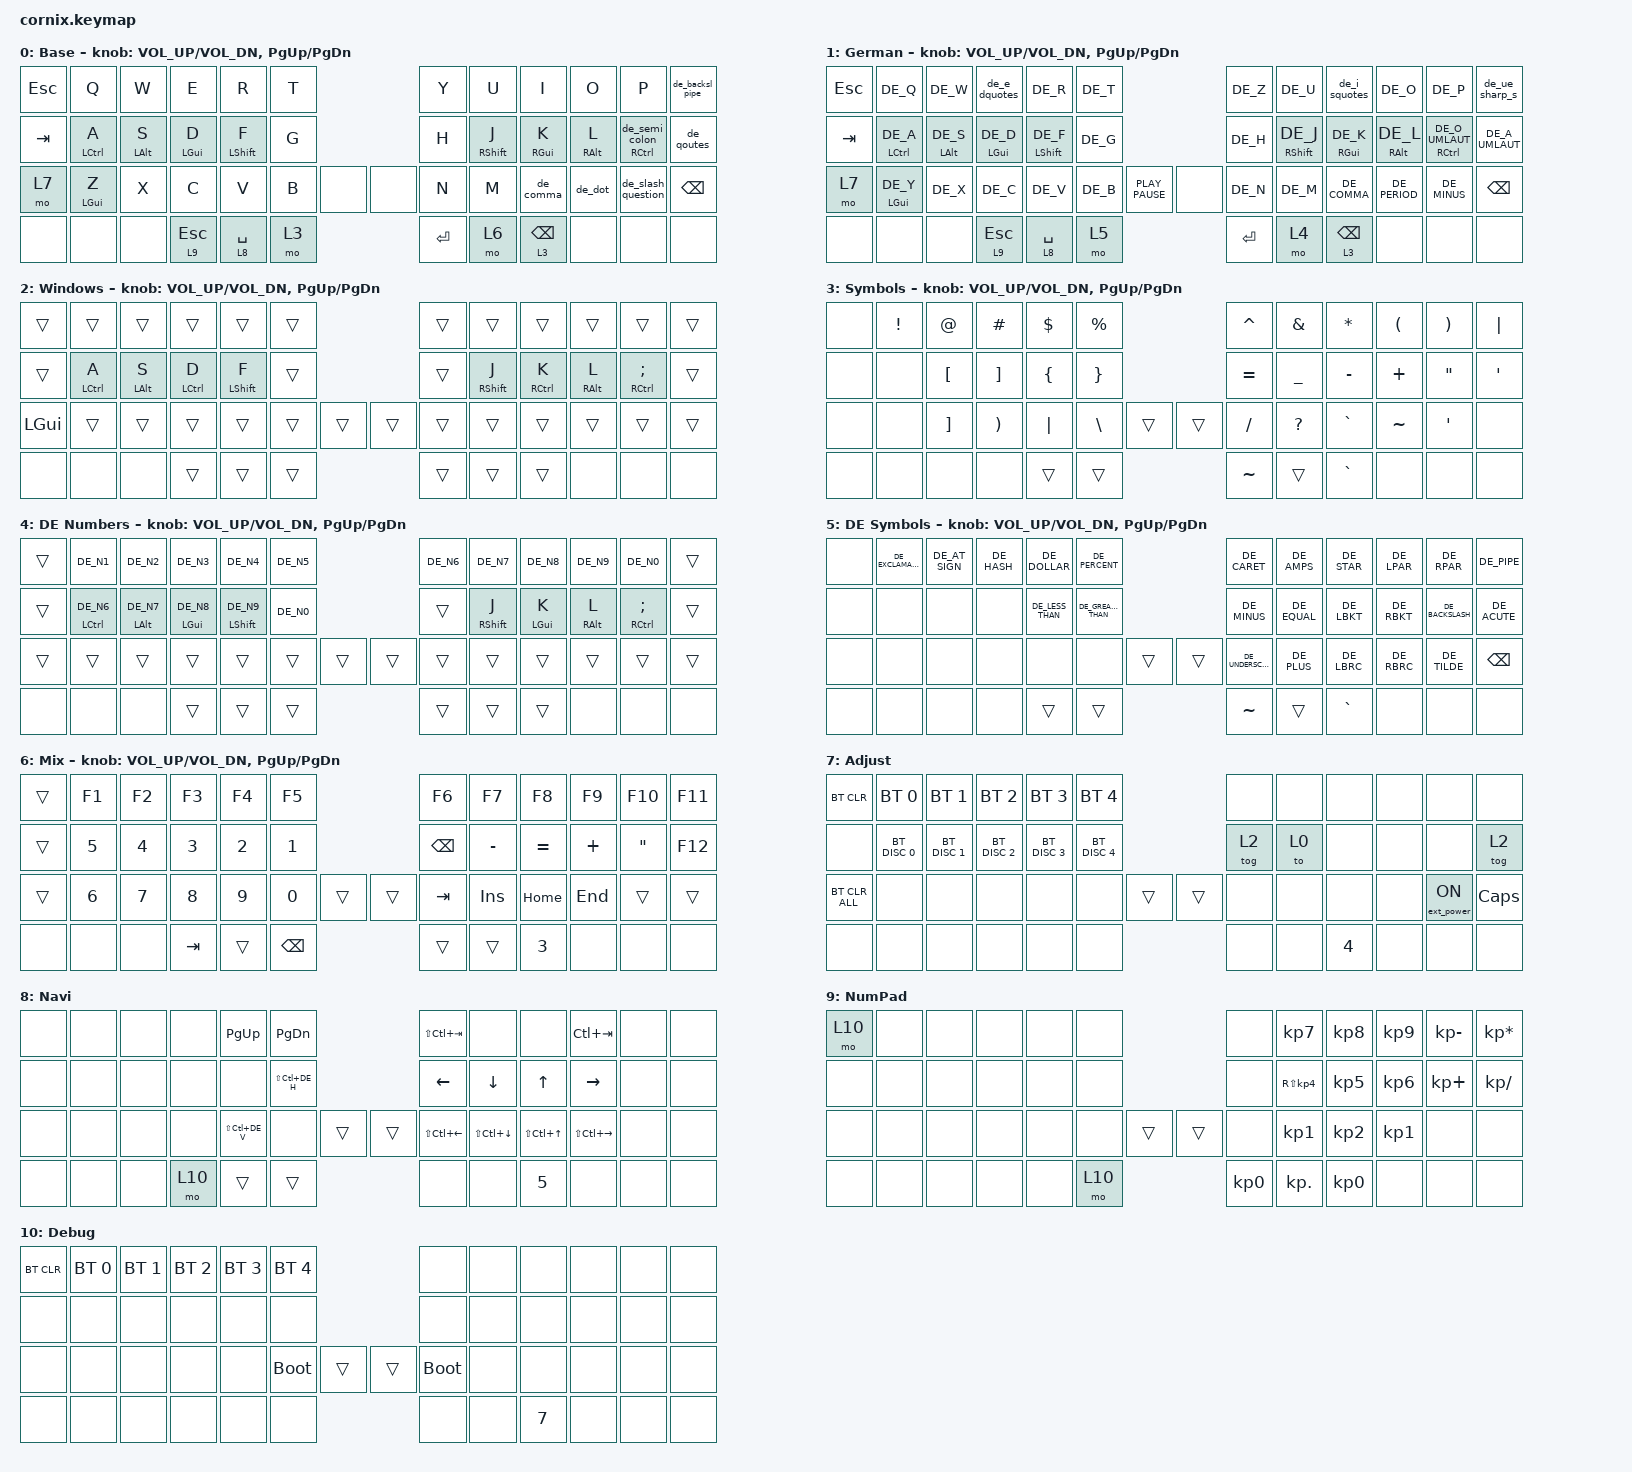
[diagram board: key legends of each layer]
/*
 * Copyright (c) 2020 The ZMK Contributors
 *
 * SPDX-License-Identifier: MIT
 */

#include "zmk-helpers/helper.h"
#include "includes/cornix54.h"
#include "keys_de.h"

// tap windows for ctl alt and gui

#define HM_TAPPING_TERM 250
#define HM_TAPPING_REPEAT 210

// quick tapping for shift

#define HM_TAPPING_TERM_FAST 200
#define HM_PRIOR_IDLE 70
#define BASE 0
#define WIN 1
#define LOWER 2
#define RAISE 3
#define ADJUST 4
#define NAVI   5
#define NUM    6
#define DEBUG  7

// https://github.com/urob/zmk-config/tree/main#timeless-homerow-mods

#define KEYS_L LT0 LT1 LT2 LT3 LT4 LT5 LM0 LM1 LM2 LM3 LM4 LM5 LB0 LB1 LB2 LB3 LB4 LB5  // left hand
#define KEYS_R RT0 RT1 RT2 RT3 RT4 RT5 RM0 RM1 RM2 RM3 RM4 RM5 RB0 RB1 RB2 RB3 RB4 RB5  // right hand
#define THUMBS LH1 LH0 RH0 RH1
#define KEYS_T LH1 LH0 RH0 RH1
#define ZMK_POINTING_DEFAULT_SCRL_VAL 15

#include <behaviors.dtsi>
#include <dt-bindings/zmk/bt.h>
#include <dt-bindings/zmk/ext_power.h>
#include <dt-bindings/zmk/keys.h>

/ {
    // Activate ADJUST layer by pressing raise and lower

    behaviors {
        hm_l: homerow_mods_left {
            compatible = "zmk,behavior-hold-tap";
            #binding-cells = <2>;
            bindings = <&kp>, <&kp>;

            flavor = "balanced";
            tapping-term-ms = <HM_TAPPING_TERM>;
            quick-tap-ms = <200>;                // repeat on tap-into-hold
            require-prior-idle-ms = <HM_PRIOR_IDLE>;
            hold-trigger-key-positions = <KEYS_R KEYS_T>;
            hold-trigger-on-release;
        };

        hm_r: homerow_mods_right {
            compatible = "zmk,behavior-hold-tap";
            #binding-cells = <2>;
            bindings = <&kp>, <&kp>;

            flavor = "balanced";
            tapping-term-ms = <HM_TAPPING_TERM>;
            quick-tap-ms = <200>;
            require-prior-idle-ms = <HM_PRIOR_IDLE>;
            hold-trigger-key-positions = <KEYS_L KEYS_T>;
            hold-trigger-on-release;
        };

        // Positional Homerow mods for shift
        // Use faster tapping term and disable some features that may
        // cause false negatives.

        hm_shift_l: hm_shift_l {
            compatible = "zmk,behavior-hold-tap";
            #binding-cells = <2>;
            bindings = <&kp>, <&kp>;

            //flavor = "balanced";

            flavor = "balanced";
            tapping-term-ms = <HM_TAPPING_TERM_FAST>;
            quick-tap-ms = <200>;
            require-prior-idle-ms = <HM_PRIOR_IDLE>;
            hold-trigger-key-positions = <KEYS_R KEYS_T>;
            hold-trigger-on-release;
        };

        hm_shift_r: hm_shift_r {
            compatible = "zmk,behavior-hold-tap";
            #binding-cells = <2>;
            bindings = <&kp>, <&kp>;

            flavor = "balanced";
            tapping-term-ms = <HM_TAPPING_TERM_FAST>;
            quick-tap-ms = <200>;
            require-prior-idle-ms = <HM_PRIOR_IDLE>;
            hold-trigger-key-positions = <KEYS_L KEYS_T>;

            // for quick tapping; shift+~

            hold-trigger-on-release;
        };

        /*
         * Non-Positional Homerow Mods
         * Used for &mm_grescm_gui behavior on left hand.
         *
         * Usage: &hm LSHFT T
         * Tap: T
         * Tap-Tap-Hold: Repeat T
         * Hold: LSHIFT
         */

        hm: homerow_mods {
            compatible = "zmk,behavior-hold-tap";
            #binding-cells = <2>;
            bindings = <&kp>, <&kp>;

            flavor = "balanced";
            tapping-term-ms = <HM_TAPPING_TERM>;
            quick-tap-ms = <200>;
        };

        lt: layer_tap {
            compatible = "zmk,behavior-hold-tap";
            #binding-cells = <2>;
            bindings = <&mo>, <&kp>;

            flavor = "hold-preferred";
            tapping-term-ms = <HM_TAPPING_TERM>;
            quick-tap-ms = <200>;
        };

        de_qoutes: de_qoutes {
            compatible = "zmk,behavior-mod-morph";
            label = "DE_QOUTES";
            bindings = <&kp DE_APOS>, <&kp DE_DOUBLE_QUOTES>;

            #binding-cells = <0>;
            mods = <(MOD_LSFT|MOD_RSFT)>;
        };

        de_backsl_pipe: de_backsl_pipe {
            compatible = "zmk,behavior-mod-morph";
            label = "DE_BACKSL_PIPE";
            bindings = <&kp DE_BACKSLASH>, <&kp DE_PIPE>;

            #binding-cells = <0>;
            mods = <(MOD_LSFT|MOD_RSFT)>;
        };

        hm_r_semi: hm_r_semi {
            compatible = "zmk,behavior-hold-tap";
            #binding-cells = <2>;
            bindings = <&kp>, <&de_semi_colon>;

            flavor = "balanced";
            tapping-term-ms = <HM_TAPPING_TERM>;
            quick-tap-ms = <200>;
            require-prior-idle-ms = <HM_PRIOR_IDLE>;
            hold-trigger-key-positions = <KEYS_L KEYS_T>;
            hold-trigger-on-release;
            label = "HM_R_SEMI";
        };

        de_semi_colon: de_semi_colon {
            compatible = "zmk,behavior-mod-morph";
            label = "DE_SEMI_COLON";
            bindings = <&kp DE_SEMI>, <&kp DE_COLON>;

            #binding-cells = <0>;
            mods = <(MOD_LSFT|MOD_RSFT)>;
        };

        de_slash_question: de_slash_question {
            compatible = "zmk,behavior-mod-morph";
            label = "DE_SLASH_QUESTION";
            bindings = <&kp DE_SLASH>, <&kp DE_QUESTION>;

            #binding-cells = <0>;
            mods = <(MOD_LSFT|MOD_RSFT)>;
        };

        de_comma: de_comma {
            compatible = "zmk,behavior-mod-morph";
            label = "DE_COMMA";
            bindings = <&kp DE_COMMA>, <&kp DE_LT>;

            #binding-cells = <0>;
            mods = <(MOD_LSFT|MOD_RSFT)>;
        };

        de_dot: de_dot {
            compatible = "zmk,behavior-mod-morph";
            label = "DE_DOT";
            bindings = <&kp DE_DOT>, <&kp DE_GT>;

            #binding-cells = <0>;
            mods = <(MOD_LSFT|MOD_RSFT)>;
        };

        de_ue_sharp_s: de_ue_sharp_s {
            compatible = "zmk,behavior-tap-dance";
            label = "DE_UE_SHARP_S";
            #binding-cells = <0>;
            bindings = <&kp DE_U_UMLAUT>, <&kp DE_SHARP_S>;
        };

        de_gr_less: de_gr_less {
            compatible = "zmk,behavior-mod-morph";
            label = "DE_GR_LESS";
            bindings = <&kp GRAVE>, <&kp TILDE>;

            #binding-cells = <0>;
            mods = <(MOD_LSFT|MOD_RSFT)>;
        };

        de_e_dquotes: de_e_dquotes {
            compatible = "zmk,behavior-tap-dance";
            label = "DE_E_DQUOTES";
            #binding-cells = <0>;
            bindings = <&kp DE_E>, <&kp DE_DOUBLE_QUOTES>;
        };

        de_i_squotes: de_i_squotes {
            compatible = "zmk,behavior-tap-dance";
            label = "DE_I_SQUOTES";
            #binding-cells = <0>;
            bindings = <&kp DE_I>, <&kp DE_SINGLE_QUOTE>;
        };
    };

    conditional_layers {
        compatible = "zmk,conditional-layers";

        adjust_layer {
            if-layers = <6 3>;
            then-layer = <7>;
        };
    };

    combos {
        compatible = "zmk,combos";

        cb_ltm {
            bindings = <&kp ESC>;
            key-positions = <2 4>;
            layers = <0 2>;
        };

        cb_lm {
            bindings = <&kp TAB>;
            key-positions = <14 16>;
            layers = <0 2>;
        };

        cb_enter {
            bindings = <&kp RET>;
            key-positions = <21 19>;
            layers = <0 2>;
        };

        layer3 {
            bindings = <&kp N3>;
            key-positions = <5 6>;
        };

        layer4 {
            bindings = <&kp N4>;
            key-positions = <5 6>;
        };

        SwitchGerman {
            bindings = <&to 1>;
            key-positions = <20 15>;
            layers = <0>;
        };

        ToBase {
            bindings = <&to 0>;
            key-positions = <20 15>;
            layers = <1>;
        };

        de_apos {
            bindings = <&kp DE_APOS>;
            key-positions = <23 16>;
            layers = <0>;
        };

        de_double {
            bindings = <&kp DE_DOUBLE_QUOTES>;
            key-positions = <23 16>;
            layers = <0>;
        };

        jk_esc {
            bindings = <&kp ESC>;
            key-positions = <19 20>;
        };
    };

    keymap {
        compatible = "zmk,keymap";

        default_layer {
            display-name = "Base";

            // ------------------------------------------------------------------------------------------------------------
            // |   `   |  1  |  2  |  3   |  4   |  5   |                   |  6   |  7    |  8    |  9   |   0   |       |
            // |  ESC  |  Q  |  W  |  E   |  R   |  T   |                   |  Y   |  U    |  I    |  O   |   P   | BKSPC |
            // |  TAB  |  A  |  S  |  D   |  F   |  G   |                   |  H   |  J    |  K    |  L   |   ;   |   '   |
            // | SHIFT |  Z  |  X  |  C   |  V   |  B   |  MUTE  |  |       |  N   |  M    |  ,    |  .   |   /   | SHIFT |
            //               | GUI | ALT  | CTRL | LOWER|  ENTER |  | SPACE | RAISE| CTRL  | ALT   | GUI  |

            bindings = <
&kp ESC  &kp Q          &kp W         &kp E         &kp R                &kp T                &kp Y      &kp U                &kp I            &kp O         &kp P               &de_backsl_pipe
&kp TAB  &hm_l LCTRL A  &hm_l LALT S  &hm_l LGUI D  &hm_shift_l LSHFT F  &kp G                &kp H      &hm_shift_r RSHFT J  &hm_r RGUI K     &hm_r RALT L  &hm_r_semi RCTRL 0  &de_qoutes
&mo 7    &hm_l LGUI Z   &kp X         &kp C         &kp V                &kp B  &none  &none  &kp N      &kp M                &de_comma        &de_dot       &de_slash_question  &kp BACKSPACE
&none    &none          &none         &lt 9 ESCAPE  &lt 8 SPACE          &mo 3                &kp ENTER  &mo 6                &lt 3 BACKSPACE  &none         &none               &none
            >;

            sensor-bindings = <&inc_dec_kp C_VOL_UP C_VOL_DN &inc_dec_kp PG_UP PG_DN>;
        };

        German {
            display-name = "German";
            bindings = <
&kp ESC  &kp DE_Q          &kp DE_W         &de_e_dquotes    &kp DE_R                &kp DE_T                           &kp DE_Z   &kp DE_U                &de_i_squotes    &kp DE_O         &kp DE_P                 &de_ue_sharp_s
&kp TAB  &hm_l LCTRL DE_A  &hm_l LALT DE_S  &hm_l LGUI DE_D  &hm_shift_l LSHFT DE_F  &kp DE_G                           &kp DE_H   &hm_shift_r RSHFT DE_J  &hm_r RGUI DE_K  &hm_r RALT DE_L  &hm_r RCTRL DE_O_UMLAUT  &kp DE_A_UMLAUT
&mo 7    &hm_l LGUI DE_Y   &kp DE_X         &kp DE_C         &kp DE_V                &kp DE_B  &kp K_PLAY_PAUSE  &none  &kp DE_N   &kp DE_M                &kp DE_COMMA     &kp DE_PERIOD    &kp DE_MINUS             &kp BACKSPACE
&none    &none             &none            &lt 9 ESCAPE     &lt 8 SPACE             &mo 5                              &kp ENTER  &mo 4                   &lt 3 BACKSPACE  &none            &none                    &none
            >;

            sensor-bindings =
                <&inc_dec_kp C_VOL_UP C_VOL_DN>,
                <&inc_dec_kp PG_UP PG_DN>;
        };

        win_layer {
            display-name = "Windows";

            // ------------------------------------------------------------------------------------------------------------
            // |   `   |  1  |  2  |  3   |  4   |  5   |                   |  6   |  7    |  8    |  9   |   0   |       |
            // |  ESC  |  Q  |  W  |  E   |  R   |  T   |                   |  Y   |  U    |  I    |  O   |   P   | BKSPC |
            // |  TAB  |  A  |  S  |  D   |  F   |  G   |                   |  H   |  J    |  K    |  L   |   ;   |   '   |
            // | SHIFT |  Z  |  X  |  C   |  V   |  B   |  MUTE  |  |       |  N   |  M    |  ,    |  .   |   /   | SHIFT |
            //               | GUI | ALT  | CTRL | LOWER|  ENTER |  | SPACE | RAISE| CTRL  | ALT   | GUI  |

            bindings = <
&trans    &trans         &trans        &trans         &trans               &trans                  &trans  &trans               &trans         &trans        &trans            &trans
&trans    &hm_l LCTRL A  &hm_l LALT S  &hm_l LCTRL D  &hm_shift_l LSHFT F  &trans                  &trans  &hm_shift_r RSHFT J  &hm_r RCTRL K  &hm_r RALT L  &hm_r RCTRL SEMI  &trans
&kp LGUI  &trans         &trans        &trans         &trans               &trans  &trans  &trans  &trans  &trans               &trans         &trans        &trans            &trans
&none     &none          &none         &trans         &trans               &trans                  &trans  &trans               &trans         &none         &none             &none
            >;

            sensor-bindings = <&inc_dec_kp C_VOL_UP C_VOL_DN &inc_dec_kp PG_UP PG_DN>;
        };

        Symbol_layer {
            display-name = "Symbols";

            // TODO: Some binds are waiting for shifted keycode support.
            // -------------------------------
            // |       |  F1 |  F2 |  F3  |  F4  |  F5  |                   |  F6  |  F7   |  F8   |  F9  |  F10  |  F11  |
            // |   `   |  1  |  2  |  3   |  4   |  5   |                   |  6   |  7    |  8    |  9   |   0   |  F12  |
            // |       |  !  |  @  |  #   |  $   |  %   |                   |  ^   |  &    |  *    |  (   |   )   |   |   |
            // |       |  =  |  -  |  +   |  {   |  }   |        |  |       |  [   |  ]    |  ;    |  :   |   \   |       |
            //               |     |      |      |      |        |  |       |      |       |       |      |

            bindings = <
&none  &kp EXCL  &kp AT    &kp HASH  &kp DLLR  &kp PRCNT                  &kp CARET  &kp AMPS      &kp ASTRK  &kp LPAR   &kp RPAR  &kp PIPE
&none  &none     &kp LBKT  &kp RBKT  &kp LBRC  &kp RBRC                   &kp EQUAL  &kp UNDER     &kp MINUS  &kp PLUS   &kp DQT   &kp SQT
&none  &none     &kp RBKT  &kp RPAR  &kp PIPE  &kp BSLH   &trans  &trans  &kp FSLH   &kp QUESTION  &kp GRAVE  &kp TILDE  &kp SQT   &none
&none  &none     &none     &none     &trans    &trans                     &kp TILDE  &trans        &kp GRAVE  &none      &none     &none
            >;

            sensor-bindings = <&inc_dec_kp C_VOL_UP C_VOL_DN &inc_dec_kp PG_UP PG_DN>;
        };

        de_numbers {
            display-name = "DE Numbers";
            bindings = <
&trans  &kp DE_N1          &kp DE_N2         &kp DE_N3         &kp DE_N4                &kp DE_N5                  &kp DE_N6  &kp DE_N7            &kp DE_N8         &kp DE_N9     &kp DE_N0         &trans
&trans  &hm_l LCTRL DE_N6  &hm_l LALT DE_N7  &hm_l LGUI DE_N8  &hm_shift_l LSHFT DE_N9  &kp DE_N0                  &trans     &hm_shift_r RSHFT J  &hm_r LEFT_GUI K  &hm_r RALT L  &hm_r RCTRL SEMI  &trans
&trans  &trans             &trans            &trans            &trans                   &trans     &trans  &trans  &trans     &trans               &trans            &trans        &trans            &trans
&none   &none              &none             &trans            &trans                   &trans                     &trans     &trans               &trans            &none         &none             &none
            >;

            sensor-bindings =
                <&inc_dec_kp C_VOL_UP C_VOL_DN>,
                <&inc_dec_kp PG_UP PG_DN>;
        };

        DE_Symbols {
            display-name = "DE Symbols";
            bindings = <
&none  &kp DE_EXCLAMATION  &kp DE_AT_SIGN  &kp DE_HASH  &kp DE_DOLLAR     &kp DE_PERCENT                       &kp DE_CARET       &kp DE_AMPS   &kp DE_STAR  &kp DE_LPAR  &kp DE_RPAR       &kp DE_PIPE
&none  &none               &none           &none        &kp DE_LESS_THAN  &kp DE_GREATER_THAN                  &kp DE_MINUS       &kp DE_EQUAL  &kp DE_LBKT  &kp DE_RBKT  &kp DE_BACKSLASH  &kp DE_ACUTE
&none  &none               &none           &none        &none             &none                &trans  &trans  &kp DE_UNDERSCORE  &kp DE_PLUS   &kp DE_LBRC  &kp DE_RBRC  &kp DE_TILDE      &kp BACKSPACE
&none  &none               &none           &none        &trans            &trans                               &kp TILDE          &trans        &kp GRAVE    &none        &none             &none
            >;

            sensor-bindings =
                <&inc_dec_kp C_VOL_UP C_VOL_DN>,
                <&inc_dec_kp PG_UP PG_DN>;
        };

        Mix_layer {
            display-name = "Mix";

            // ------------------------------------------------------------------------------------------------------------
            // | BTCLR | BT1  | BT2  |  BT3  |  BT4  |  BT5 |                |      |      |       |      |       |       |
            // |       | INS  | PSCR | GUI   |       |      |                | PGUP |      |   ^   |      |       |       |
            // |       | ALT  | CTRL | SHIFT |       | CAPS |                | PGDN |   <- |   v   |  ->  |  DEL  | BKSPC |
            // |       | UNDO | CUT  | COPY  | PASTE |      |      |  |      |      |      |       |      |       |       |
            //                |      |       |       |      |      |  |      |      |      |       |      |

            bindings = <
&trans  &kp F1  &kp F2  &kp F3   &kp F4  &kp F5                         &kp F6    &kp F7     &kp F8     &kp F9    &kp F10  &kp F11
&trans  &kp N5  &kp N4  &kp N3   &kp N2  &kp N1                         &kp BSPC  &kp MINUS  &kp EQUAL  &kp PLUS  &kp DQT  &kp F12
&trans  &kp N6  &kp N7  &kp N8   &kp N9  &kp N0         &trans  &trans  &kp TAB   &kp INS    &kp HOME   &kp END   &trans   &trans
&none   &none   &none   &kp TAB  &trans  &kp BACKSPACE                  &trans    &trans     &kp N3     &none     &none    &none
            >;

            sensor-bindings = <&inc_dec_kp C_VOL_UP C_VOL_DN &inc_dec_kp PG_UP PG_DN>;
        };

        Adjust_layer {
            display-name = "Adjust";

            // ----------------------------------------------------------------------------------------------------------------------------
            // | BTCLR  |  BT1    |  BT2    |   BT3   |   BT4   |   BT5   |                  |      |      |       |      |       |       |
            // | moDEBUG| RGB_HUD | RGB_HUI | RGB_SAD | RGB_SAI | RGB_EFF |                  |      |      |       |      |       |       |
            // | EXTPWR | RGB_BRD | RGB_BRI |         |         |         |                  |      |      |       |      |       |       |
            // |        |         |         |         |         |         | RGB_TOG | |      |      |      |       |      |       |       |
            //                    |         |         |         |         |         | |      |      |      |       |      |

            bindings = <
&bt BT_CLR      &bt BT_SEL 0   &bt BT_SEL 1   &bt BT_SEL 2   &bt BT_SEL 3   &bt BT_SEL 4                   &none   &none  &none   &none  &none             &none
&none           &bt BT_DISC 0  &bt BT_DISC 1  &bt BT_DISC 2  &bt BT_DISC 3  &bt BT_DISC 4                  &tog 2  &to 0  &none   &none  &none             &tog 2
&bt BT_CLR_ALL  &none          &none          &none          &none          &none          &trans  &trans  &none   &none  &none   &none  &ext_power EP_ON  &kp CAPSLOCK
&none           &none          &none          &none          &none          &none                          &none   &none  &kp N4  &none  &none             &none
            >;
        };

        Navi_layer {
            display-name = "Navi";
            bindings = <
&none  &none  &none  &none   &kp PAGE_UP       &kp PAGE_DOWN                     &kp LS(LC(TAB))   &none             &none           &kp LC(TAB)        &none  &none
&none  &none  &none  &none   &none             &kp LS(LC(DE_H))                  &kp LEFT          &kp DOWN          &kp UP          &kp RIGHT          &none  &none
&none  &none  &none  &none   &kp LS(LC(DE_V))  &none             &trans  &trans  &kp LS(LC(LEFT))  &kp LS(LC(DOWN))  &kp LS(LC(UP))  &kp LS(LC(RIGHT))  &none  &none
&none  &none  &none  &mo 10  &trans            &trans                            &none             &none             &kp N5          &none              &none  &none
            >;
        };

        KeyPad_layer {
            display-name = "NumPad";
            bindings = <
&mo 10  &none  &none  &none  &none  &none                   &none      &kp KP_N7      &kp KP_N8        &kp KP_N9  &kp KP_MINUS  &kp KP_MULTIPLY
&none   &none  &none  &none  &none  &none                   &none      &kp RS(KP_N4)  &kp KP_N5        &kp KP_N6  &kp KP_PLUS   &kp KP_SLASH
&none   &none  &none  &none  &none  &none   &trans  &trans  &none      &kp KP_N1      &kp KP_N2        &kp KP_N1  &none         &none
&none   &none  &none  &none  &none  &mo 10                  &kp KP_N0  &kp KP_DOT     &kp KP_NUMBER_0  &none      &none         &none
            >;
        };

        Debug_layer {
            display-name = "Debug";

            // ----------------------------------------------------------------------------------------------------------------------------
            // | BTCLR  |  BT1    |  BT2    |   BT3   |   BT4   |   BT5   |                  |      |      |       |      |       |       |
            // | EXTPWR | BTCLR | RGB_HUI | RGB_SAD | RGB_SAI | RGB_EFF |                  |      |      |       |      |       |       |
            // |        | RGB_BRD | RGB_BRI |         |         |         |                  |      |      |       |      |       |       |
            // |        |         |         |         |         |         | RGB_TOG | |      |      |      |       |      |       |       |
            //                    |         |         |         |         |         | |      |      |      |       |      |

            bindings = <
&bt BT_CLR  &bt BT_SEL 0  &bt BT_SEL 1  &bt BT_SEL 2  &bt BT_SEL 3  &bt BT_SEL 4                  &none        &none  &none   &none  &none  &none
&none       &none         &none         &none         &none         &none                         &none        &none  &none   &none  &none  &none
&none       &none         &none         &none         &none         &bootloader   &trans  &trans  &bootloader  &none  &none   &none  &none  &none
&none       &none         &none         &none         &none         &none                         &none        &none  &kp N7  &none  &none  &none
            >;
        };
    };
};
